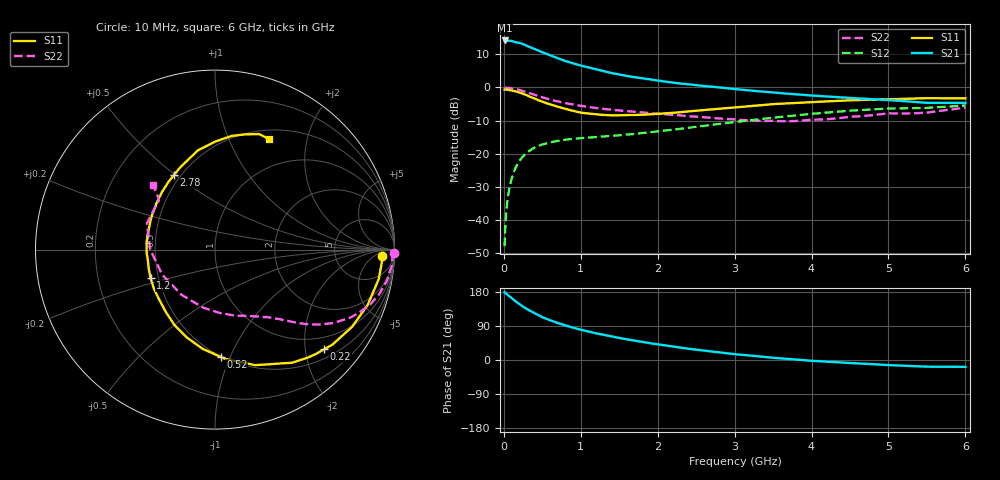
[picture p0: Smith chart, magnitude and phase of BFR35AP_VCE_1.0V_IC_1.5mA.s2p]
! Infineon Technologies  Discrete & RF Semiconductors
! BFR35AP
! VCE =  1.0 V,  IC =  1.5 mA
! Common Emitter S-Parameters:  Nov 2015
# GHz  S  MA  R  50
!  f  S11  S21  S12  S22
! GHz  MAG  ANG  MAG  ANG  MAG  ANG  MAG  ANG
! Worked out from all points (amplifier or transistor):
!   210 points, 10 MHz to 6 GHz, reference 50 ohm
!   highest |S21| = 14.2 dB at 10 MHz (marker M1)
!   |S21| within 3 dB of that: start of sweep to 442.2 MHz
!   unconditionally stable (mu >= 1): 1.193 GHz to end of sweep
!   at 185 MHz: K = 0.20, MSG = 18.2 dB, |S12| = -22.9 dB
!   at 1.52 GHz: K = 1.16, MAG = 6.7 dB, |S12| = -14.4 dB
!   at 6 GHz: K = 1.07, MAG = -1.2 dB, |S12| = -5.4 dB
!   S11 on the Smith chart (normalised r, x): 10 MHz: 22, -11; 220 MHz: 0.70, -2.40; 520 MHz: 0.50, -0.92; 1.2 GHz: 0.45, -0.17; 2.78 GHz: 0.46, +0.50; 6 GHz: 0.62, +1.42
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0.01  0.9297 -2.1  5.134 178.8  0.004 88.4  0.9966 -1.0
0.02  0.9328 -4.1  5.066 176.6  0.0082 86.2  0.9897 -2.0
0.03  0.9297 -6.1  5.068 175.0  0.0125 85.3  0.9892 -3.0
0.065  0.9174 -13.1  5.068 169.4  0.0272 81.4  0.9837 -6.6
0.1  0.9046 -20.0  5.065 163.7  0.0413 77.6  0.9733 -10.2
0.15  0.8767 -29.4  4.837 155.1  0.0603 72.1  0.9492 -15.0
0.22  0.8238 -42.4  4.65 145.0  0.0826 64.7  0.9031 -20.8
0.26  0.7936 -49.3  4.482 139.4  0.0938 60.9  0.8729 -23.9
0.32  0.7422 -58.5  4.156 132.2  0.1082 56.3  0.8304 -27.6
0.4  0.6812 -70.9  3.824 123.4  0.1241 50.9  0.7763 -31.8
0.52  0.5984 -87.0  3.337 111.5  0.1396 44.8  0.6988 -36.7
0.7  0.514 -107.8  2.769 97.7  0.1561 38.7  0.6152 -41.6
0.9  0.4433 -128.0  2.315 85.3  0.1681 35.1  0.5529 -45.4
1.02  0.414 -140.0  2.115 79.0  0.1719 33.9  0.5236 -47.6
1.2  0.3927 -156.2  1.88 70.3  0.1781 32.8  0.4896 -50.8
1.6  0.3833 174.7  1.49 54.4  0.1945 33.3  0.4398 -57.9
2.02  0.4015 150.0  1.263 40.7  0.2187 35.3  0.399 -67.2
2.78  0.4745 118.7  1.008 20.6  0.2802 35.2  0.3412 -92.0
3.1  0.5097 109.6  0.923 13.7  0.3098 33.2  0.322 -106.2
4.1  0.6087 88.1  0.743 -3.2  0.4082 23.6  0.3272 -160.0
5.1  0.6686 73.9  0.635 -14.2  0.4824 10.0  0.4047 154.7
6  0.6845 63.8  0.586 -18.1  0.534 -0.2  0.4957 133.8
